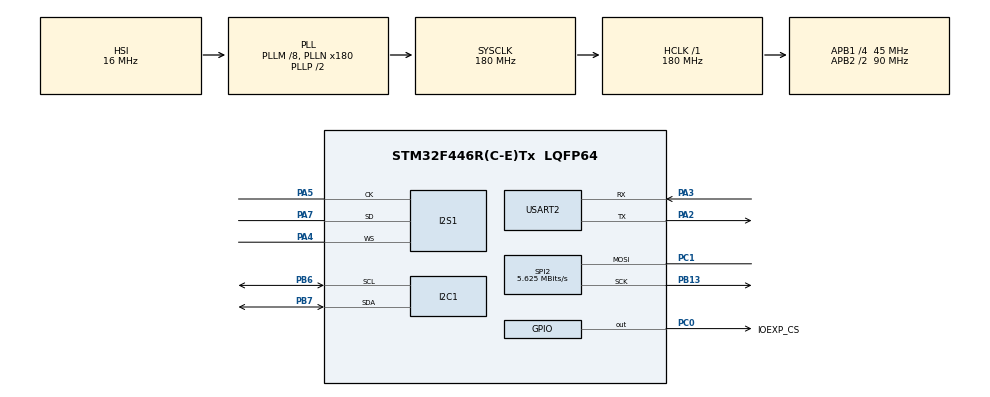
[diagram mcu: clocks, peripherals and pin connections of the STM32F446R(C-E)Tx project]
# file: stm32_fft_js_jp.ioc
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I2C1.I2C_Mode=I2C_Standard
I2S1.AudioFreq=I2S_AUDIOFREQ_96K
I2S1.DataFormat=I2S_DATAFORMAT_16B
I2S1.ErrorAudioFreq=0.8 %
I2S1.FullDuplexMode=I2S_FULLDUPLEXMODE_DISABLE
I2S1.Instance=SPI$Index
I2S1.Mode=I2S_MODE_MASTER_RX
I2S1.RealAudioFreq=96.774 KHz
I2S1.Standard=I2S_STANDARD_PHILIPS
I2S1.VirtualMode=I2S_MODE_MASTER
Mcu.Family=STM32F4
Mcu.Name=STM32F446R(C-E)Tx
Mcu.Package=LQFP64
NVIC.PriorityGroup=NVIC_PRIORITYGROUP_4
NVIC.TIM1_UP_TIM10_IRQn=true\:2\:0\:true\:false\:true\:true\:true\:true
NVIC.TIM6_DAC_IRQn=true\:1\:0\:true\:false\:true\:true\:true\:true
PA13.Mode=Serial_Wire
PA13.Signal=SYS_JTMS-SWDIO
PA14.Mode=Serial_Wire
PA14.Signal=SYS_JTCK-SWCLK
PA2.Mode=Asynchronous
PA2.Signal=USART2_TX
PA3.Mode=Asynchronous
PA3.Signal=USART2_RX
PA4.Mode=Half_Duplex_Master
PA4.Signal=I2S1_WS
PA5.Mode=Half_Duplex_Master
PA5.Signal=I2S1_CK
PA7.Mode=Half_Duplex_Master
PA7.Signal=I2S1_SD
PB13.Mode=Simplex_Bidirectional_Master
PB13.Signal=SPI2_SCK
PB6.Mode=I2C
PB6.Signal=I2C1_SCL
PB7.Mode=I2C
PB7.Signal=I2C1_SDA
PC0.GPIO_Label=IOEXP_CS
PC0.Signal=GPIO_Output
PC1.Mode=Simplex_Bidirectional_Master
PC1.Signal=SPI2_MOSI
ProjectManager.HeapSize=0x200
ProjectManager.StackSize=0x2000
ProjectManager.TargetToolchain=STM32CubeIDE
RCC.AHBFreq_Value=180000000
RCC.APB1CLKDivider=RCC_HCLK_DIV4
RCC.APB1Freq_Value=45000000
RCC.APB1TimFreq_Value=90000000
RCC.APB2CLKDivider=RCC_HCLK_DIV2
RCC.APB2Freq_Value=90000000
RCC.APB2TimFreq_Value=180000000
RCC.CortexFreq_Value=180000000
RCC.HCLKFreq_Value=180000000
RCC.PLLM=8
RCC.PLLN=180
RCC.SYSCLKFreq_VALUE=180000000
RCC.SYSCLKSource=RCC_SYSCLKSOURCE_PLLCLK
RCC.USBFreq_Value=180000000
RCC.VCOOutputFreq_Value=360000000
SPI2.BaudRatePrescaler=SPI_BAUDRATEPRESCALER_8
SPI2.CalculateBaudRate=5.625 MBits/s
SPI2.Direction=SPI_DIRECTION_1LINE
SPI2.Mode=SPI_MODE_MASTER
SPI2.VirtualType=VM_MASTER
TIM10.Channel=TIM_CHANNEL_1
TIM10.Period=4999
TIM10.Prescaler=1799
TIM10.Pulse=1999
TIM6.Period=937
TIM6.Prescaler=0
USART2.VirtualMode=VM_ASYNC
VP_TIM10_VS_ClockSourceINT.Mode=Enable_Timer
VP_TIM10_VS_no_output1.Mode=Output Compare1 No Output
VP_TIM6_VS_ClockSourceINT.Mode=Enable_Timer
board=custom

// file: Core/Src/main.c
/* USER CODE BEGIN Header */
/**
  ******************************************************************************
  * @file           : main.c
  * @brief          : Main program body
  ******************************************************************************
  * @attention
  *
  * Copyright (c) 2023 STMicroelectronics.
  * All rights reserved.
  *
  * This software is licensed under terms that can be found in the LICENSE file
  * in the root directory of this software component.
  * If no LICENSE file comes with this software, it is provided AS-IS.
  *
  ******************************************************************************
  */
/* USER CODE END Header */
#include "main.h"
#include "i2c.h"
#include "i2s.h"
#include "spi.h"
#include "tim.h"
#include "usart.h"
#include "gpio.h"

/* USER CODE BEGIN Includes */
#include "wm8731.h"
#include "max7219.h"
#include "fft_lib.h"
#include "stdlib.h"

/* USER CODE END Includes */

void SystemClock_Config(void);

/* USER CODE BEGIN 0 */

static volatile int16_t temp_data = 0;

void HAL_TIM_PeriodElapsedCallback(TIM_HandleTypeDef* htim)
{
	static int16_t temp_data_filt = 0;

	if (htim == &htim6)
	{
		WM8731_RecieveData((uint16_t *)&temp_data);
		temp_data_filt = FFT_apply_filter(temp_data);
		FFT_update_buffer(temp_data_filt);
	}
	else if (htim == &htim10)
	{
		/* Matryca LED wymaga zewnetrznego zasilania, poniewaz skokowe zmiany pradu zaburzaja Vref dla ADC kodeka */
		MAX7219_SetAllDigits(MAX7219_OFF);
		MAX7219_Display();
	}
}

void HAL_TIM_OC_DelayElapsedCallback(TIM_HandleTypeDef* htim)
{
	if (htim == &htim10)
	{
		if (HAL_TIM_ACTIVE_CHANNEL_1 == HAL_TIM_GetActiveChannel(htim))
		{
			MAX7219_SetSpectrum(FFT_Data.result_intervals_buffer, 8);
			MAX7219_Display();
		}
	}
}
/* USER CODE END 0 */

int main(void)
{

  /* MCU Configuration--------------------------------------------------------*/

  /* Reset of all peripherals, Initializes the Flash interface and the Systick. */
  HAL_Init();

  /* Configure the system clock */
  SystemClock_Config();

  /* Initialize all configured peripherals */
  MX_GPIO_Init();
  MX_I2S1_Init();
  MX_SPI2_Init();
  MX_USART2_UART_Init();
  MX_I2C1_Init();
  MX_TIM6_Init();
  MX_TIM10_Init();

  /* Infinite loop */
  /* USER CODE BEGIN WHILE */
  MAX7219_Init(&hspi2);
  MAX7219_SetAllDigits(MAX7219_OFF);
  MAX7219_Display();
  WM8731_Init(&hi2c1);
  WM8731_Start();
  HAL_TIM_Base_Start_IT(&htim6);
  HAL_TIM_Base_Start_IT(&htim10);
  HAL_TIM_OC_Start_IT(&htim10, TIM_CHANNEL_1);

  while (1)
  {

  }
    /* USER CODE END WHILE */

}

void SystemClock_Config(void)
{
  RCC_OscInitTypeDef RCC_OscInitStruct = {0};
  RCC_ClkInitTypeDef RCC_ClkInitStruct = {0};

  /** Configure the main internal regulator output voltage
  */
  __HAL_RCC_PWR_CLK_ENABLE();
  __HAL_PWR_VOLTAGESCALING_CONFIG(PWR_REGULATOR_VOLTAGE_SCALE1);

  /** Initializes the RCC Oscillators according to the specified parameters
  * in the RCC_OscInitTypeDef structure.
  */
  RCC_OscInitStruct.OscillatorType = RCC_OSCILLATORTYPE_HSI;
  RCC_OscInitStruct.HSIState = RCC_HSI_ON;
  RCC_OscInitStruct.HSICalibrationValue = RCC_HSICALIBRATION_DEFAULT;
  RCC_OscInitStruct.PLL.PLLState = RCC_PLL_ON;
  RCC_OscInitStruct.PLL.PLLSource = RCC_PLLSOURCE_HSI;
  RCC_OscInitStruct.PLL.PLLM = 8;
  RCC_OscInitStruct.PLL.PLLN = 180;
  RCC_OscInitStruct.PLL.PLLP = RCC_PLLP_DIV2;
  RCC_OscInitStruct.PLL.PLLQ = 2;
  RCC_OscInitStruct.PLL.PLLR = 2;
  if (HAL_RCC_OscConfig(&RCC_OscInitStruct) != HAL_OK)
  {
    Error_Handler();
  }

  /** Activate the Over-Drive mode
  */
  if (HAL_PWREx_EnableOverDrive() != HAL_OK)
  {
    Error_Handler();
  }

  /** Initializes the CPU, AHB and APB buses clocks
  */
  RCC_ClkInitStruct.ClockType = RCC_CLOCKTYPE_HCLK|RCC_CLOCKTYPE_SYSCLK
                              |RCC_CLOCKTYPE_PCLK1|RCC_CLOCKTYPE_PCLK2;
  RCC_ClkInitStruct.SYSCLKSource = RCC_SYSCLKSOURCE_PLLCLK;
  RCC_ClkInitStruct.AHBCLKDivider = RCC_SYSCLK_DIV1;
  RCC_ClkInitStruct.APB1CLKDivider = RCC_HCLK_DIV4;
  RCC_ClkInitStruct.APB2CLKDivider = RCC_HCLK_DIV2;

  if (HAL_RCC_ClockConfig(&RCC_ClkInitStruct, FLASH_LATENCY_5) != HAL_OK)
  {
    Error_Handler();
  }
}

void Error_Handler(void)
{
  __disable_irq();
  while (1)
  {
  }
}
